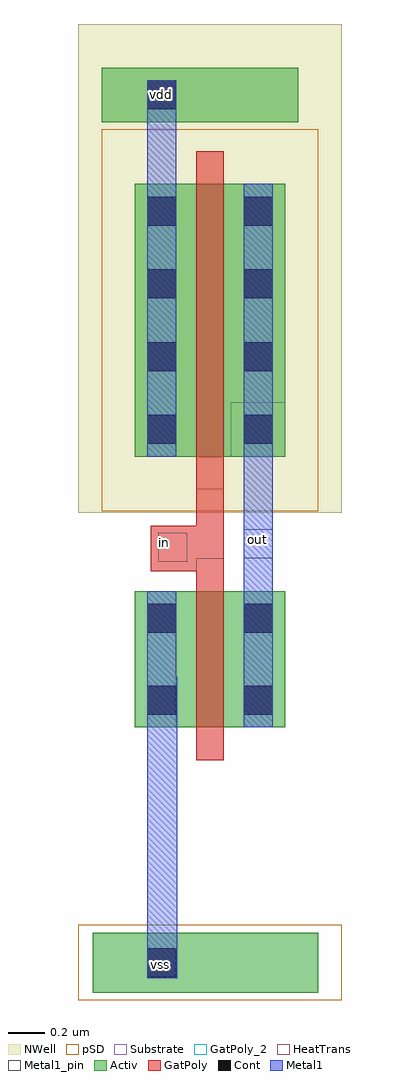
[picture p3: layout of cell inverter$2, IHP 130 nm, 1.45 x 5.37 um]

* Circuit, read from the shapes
.subckt inverter$2 in out vdd vss
XM1 out in vss vss sg13_lv_nmos w=0.75u l=0.15u
XM2 out in vdd vdd sg13_lv_pmos w=1.5u l=0.15u
.ends

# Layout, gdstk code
import gdstk
lib = gdstk.Library(unit=1e-6, precision=5e-09)
def R(c, l, rs):  # rectangles x0, y0, x1, y1
    for r in rs: c.add(gdstk.rectangle(r[:2], r[2:], *l))
def A(c, l, x, y, w, h, nx, ny, dx, dy):  # array of equal rectangles
    R(c, l, [(x+i*dx, y+j*dy, x+i*dx+w, y+j*dy+h) for i in range(nx) for j in range(ny)])
Activ = (1, 0)
GatPoly = (5, 0)
GatPoly_2 = (5, 2)
Cont = (6, 0)
Metal1 = (8, 0)
Metal1_pin = (8, 2)
pSD = (14, 0)
NWell = (31, 0)
Substrate = (40, 0)
HeatTrans = (51, 0)

nmos_3 = lib.new_cell('nmos$3')
R(nmos_3, Activ, [(0,0,0.3,0.3), (0,0,0.83,0.75), (0.53,0,0.83,0.3)])
R(nmos_3, GatPoly, [(0.34,-0.18,0.49,0.93)])
R(nmos_3, GatPoly_2, [(0.34,-0.18,0.49,0.93)])
R(nmos_3, Cont, [(0.07,0.07,0.23,0.23), (0.6,0.07,0.76,0.23), (0.07,0.52,0.23,0.68), (0.6,0.52,0.76,0.68)])
R(nmos_3, Metal1, [(0.07,0,0.23,0.75), (0.6,0,0.76,0.75)])
R(nmos_3, Metal1_pin, [(0.07,0,0.23,0.75), (0.6,0,0.76,0.75)])
R(nmos_3, HeatTrans, [(0.34,-0.18,0.49,0.93)])
nmos_3.add(gdstk.Label('nmos', (0.415,0.375), layer=63, texttype=0))
nmos_3.add(gdstk.Label('nmos', (0.415,0.375), layer=51, texttype=0))

pmos_3 = lib.new_cell('pmos$3')
R(pmos_3, Activ, [(0,0,0.3,0.3), (0,0,0.83,1.5), (0.53,0,0.83,0.3)])
R(pmos_3, GatPoly, [(0.34,-0.18,0.49,1.68), (0.34,-0.18,0.49,1.68)])
A(pmos_3, Cont, 0.07, 0.07, 0.16, 0.16, 1, 4, 0, 0.4)
A(pmos_3, Cont, 0.6, 0.07, 0.16, 0.16, 1, 4, 0, 0.4)
R(pmos_3, Metal1, [(0.07,0,0.23,1.5), (0.07,0,0.23,1.5), (0.6,0,0.76,1.5), (0.6,0,0.76,1.5)])
R(pmos_3, pSD, [(-0.18,-0.3,1.01,1.8)])
R(pmos_3, NWell, [(-0.31,-0.31,1.14,1.81)])
R(pmos_3, Substrate, [(0.53,0,0.83,0.3)])
R(pmos_3, HeatTrans, [(0.34,-0.18,0.49,1.68)])
pmos_3.add(gdstk.Label('pmos', (0.415,0.75), layer=63, texttype=0))
pmos_3.add(gdstk.Label('pmos', (0.415,0.75), layer=51, texttype=0))

inverter_2 = lib.new_cell('inverter$2')
R(inverter_2, Activ, [(-0.845,-2.585,0.395,-2.255), (-0.795,2.205,0.285,2.505)])
R(inverter_2, GatPoly, [(-0.525,-0.265,-0.275,-0.015), (-0.275,-0.195,-0.125,0.185)])
R(inverter_2, GatPoly_2, [(-0.485,-0.215,-0.325,-0.055)])
R(inverter_2, Cont, [(-0.545,-2.5,-0.385,-2.34), (-0.545,-2.5,-0.385,-2.34), (-0.545,2.275,-0.385,2.435)])
R(inverter_2, Metal1, [(-0.545,-2.505,-0.38,-0.845), (-0.015,-0.375,0.145,0.365), (-0.545,1.865,-0.385,2.435)])
R(inverter_2, Metal1_pin, [(-0.015,-0.195,0.145,-0.035)])
R(inverter_2, pSD, [(-0.925,-2.625,0.525,-2.21)])
R(inverter_2, NWell, [(-0.925,2.175,0.525,2.745)])
inverter_2.add(gdstk.Reference(nmos_3, (-0.615,-1.125)))
inverter_2.add(gdstk.Reference(pmos_3, (-0.615,0.365)))
inverter_2.add(gdstk.Label('vss', (-0.475,-2.43), layer=8, texttype=2))
inverter_2.add(gdstk.Label('vdd', (-0.465,2.355), layer=8, texttype=2))
inverter_2.add(gdstk.Label('out', (0.06,-0.09), layer=8, texttype=2))
inverter_2.add(gdstk.Label('in', (-0.45,-0.11), layer=5, texttype=2))

lib.write_gds('inverter_2.gds')
